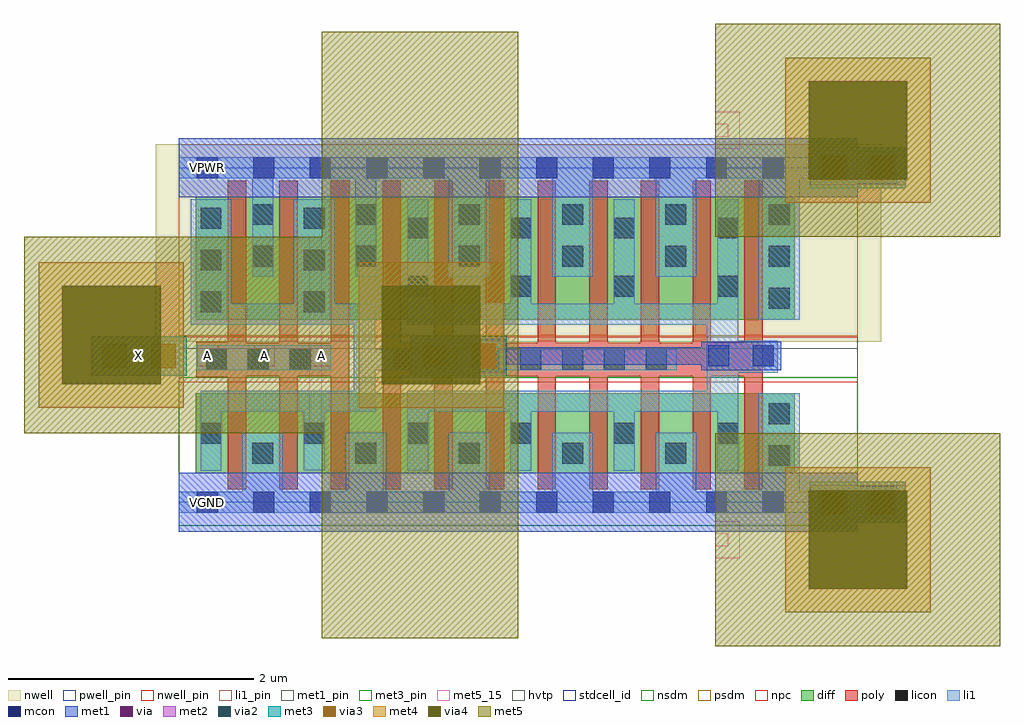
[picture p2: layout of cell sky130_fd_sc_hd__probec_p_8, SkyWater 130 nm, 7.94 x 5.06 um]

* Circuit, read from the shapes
.subckt sky130_fd_sc_hd__probec_p_8 A VGND VNB VPB VPWR X
XM1 VGND A n1 VNB sky130_fd_pr__nfet_01v8 w=0.65 l=0.15 m=3
XM2 X n1 VGND VNB sky130_fd_pr__nfet_01v8 w=0.65 l=0.15 m=8
XM3 VPWR A n1 VPB sky130_fd_pr__pfet_01v8_hvt w=1 l=0.15 m=3
XM4 X n1 VPWR VPB sky130_fd_pr__pfet_01v8_hvt w=1 l=0.15 m=8
.ends

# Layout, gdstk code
import gdstk
lib = gdstk.Library(unit=1e-6, precision=1e-09)
def R(c, l, rs):  # rectangles x0, y0, x1, y1
    for r in rs: c.add(gdstk.rectangle(r[:2], r[2:], *l))
def A(c, l, x, y, w, h, nx, ny, dx, dy):  # array of equal rectangles
    R(c, l, [(x+i*dx, y+j*dy, x+i*dx+w, y+j*dy+h) for i in range(nx) for j in range(ny)])
def P(c, l, *ps):  # polygons
    for p in ps: c.add(gdstk.Polygon(p, *l))
nwell_pin = (64, 16)
nwell = (64, 20)
diff = (65, 20)
poly = (66, 20)
licon = (66, 44)
li1_pin = (67, 16)
li1 = (67, 20)
mcon = (67, 44)
met1_pin = (68, 16)
met1 = (68, 20)
via = (68, 44)
met2 = (69, 20)
via2 = (69, 44)
met3_pin = (70, 16)
met3 = (70, 20)
via3 = (70, 44)
met4 = (71, 20)
via4 = (71, 44)
met5_15 = (72, 15)
met5 = (72, 20)
hvtp = (78, 44)
stdcell_id = (81, 4)
nsdm = (93, 44)
psdm = (94, 20)
npc = (95, 20)
pwell_pin = (122, 16)

sky130_fd_sc_hd__probec_ = lib.new_cell('sky130_fd_sc_hd__probec_p_8')
R(sky130_fd_sc_hd__probec_, nwell_pin, [(0.15,2.635,0.32,2.805)])
R(sky130_fd_sc_hd__probec_, nwell, [(-0.19,1.305,5.71,2.91)])
R(sky130_fd_sc_hd__probec_, diff, [(0.135,0.235,5.005,0.885), (0.135,1.485,5.005,2.485)])
P(sky130_fd_sc_hd__probec_, poly, [(1.385,2.615),(1.235,2.615),(1.235,1.295),(0.965,1.295),(0.965,2.615),(0.815,2.615),(0.815,1.295),(0.545,1.295),(0.545,2.615),(0.395,2.615),(0.395,1.305),(0.14,1.305),(0.14,1.015),(0.395,1.015),(0.395,0.105),(0.545,0.105),(0.545,1.025),(0.815,1.025),(0.815,0.105),(0.965,0.105),(0.965,1.025),(1.235,1.025),(1.235,0.105),(1.385,0.105)],
  [(4.745,2.615),(4.595,2.615),(4.595,1.295),(4.325,1.295),(4.325,2.615),(4.175,2.615),(4.175,1.295),(3.905,1.295),(3.905,2.615),(3.755,2.615),(3.755,1.295),(3.485,1.295),(3.485,2.615),(3.335,2.615),(3.335,1.295),(3.065,1.295),(3.065,2.615),(2.915,2.615),(2.915,1.295),(2.645,1.295),(2.645,2.615),(2.495,2.615),(2.495,1.295),(2.225,1.295),(2.225,2.615),(2.075,2.615),(2.075,1.295),(1.805,1.295),(1.805,2.615),(1.655,2.615),(1.655,0.105),(1.805,0.105),(1.805,1.025),(2.075,1.025),(2.075,0.105),(2.225,0.105),(2.225,1.025),(2.495,1.025),(2.495,0.105),(2.645,0.105),(2.645,1.025),(2.915,1.025),(2.915,0.105),(3.065,0.105),(3.065,1.025),(3.335,1.025),(3.335,0.105),(3.485,0.105),(3.485,1.025),(3.755,1.025),(3.755,0.105),(3.905,0.105),(3.905,1.025),(4.175,1.025),(4.175,0.105),(4.325,0.105),(4.325,1.025),(4.595,1.025),(4.595,0.105),(4.745,0.105)])
A(sky130_fd_sc_hd__probec_, licon, 0.595, 0.315, 0.17, 0.17, 5, 1, 0.84, 0)
A(sky130_fd_sc_hd__probec_, licon, 0.175, 0.475, 0.17, 0.17, 6, 1, 0.84, 0)
A(sky130_fd_sc_hd__probec_, licon, 0.22, 1.075, 0.17, 0.17, 3, 1, 0.34, 0)
A(sky130_fd_sc_hd__probec_, licon, 1.755, 1.075, 0.17, 0.17, 7, 1, 0.34, 0)
A(sky130_fd_sc_hd__probec_, licon, 0.175, 1.545, 0.17, 0.17, 1, 3, 0, 0.34)
A(sky130_fd_sc_hd__probec_, licon, 1.015, 1.545, 0.17, 0.17, 1, 3, 0, 0.34)
A(sky130_fd_sc_hd__probec_, licon, 1.855, 1.67, 0.17, 0.17, 4, 2, 0.84, 0.475)
A(sky130_fd_sc_hd__probec_, licon, 0.595, 1.915, 0.17, 0.17, 6, 2, 0.84, 0.34)
R(sky130_fd_sc_hd__probec_, licon, [(4.795,0.295,4.965,0.465), (4.795,0.635,4.965,0.805), (4.795,1.575,4.965,1.745)])
A(sky130_fd_sc_hd__probec_, li1_pin, 0.15, 1.105, 0.17, 0.17, 3, 1, 0.46, 0)
R(sky130_fd_sc_hd__probec_, li1_pin, [(0.15,-0.085,0.32,0.085), (0.15,2.635,0.32,2.805)])
R(sky130_fd_sc_hd__probec_, li1, [(0.14,1.075,1.24,1.275)])
P(sky130_fd_sc_hd__probec_, li1, [(4.045,1.245),(1.595,1.245),(1.595,1.615),(1.265,1.615),(1.265,2.465),(0.935,2.465),(0.935,1.615),(0.425,1.615),(0.425,2.465),(0.095,2.465),(0.095,1.445),(1.42,1.445),(1.42,0.905),(0.175,0.905),(0.175,0.255),(0.345,0.255),(0.345,0.735),(1.015,0.735),(1.015,0.26),(1.185,0.26),(1.185,0.735),(1.595,0.735),(1.595,1.075),(4.045,1.075)],
  [(4.87,1.315),(4.545,1.315),(4.545,2.465),(4.375,2.465),(4.375,1.615),(3.705,1.615),(3.705,2.465),(3.535,2.465),(3.535,1.615),(2.865,1.615),(2.865,2.465),(2.695,2.465),(2.695,1.615),(2.025,1.615),(2.025,2.465),(1.855,2.465),(1.855,1.445),(4.29,1.445),(4.29,0.905),(1.855,0.905),(1.855,0.255),(2.025,0.255),(2.025,0.735),(2.695,0.735),(2.695,0.255),(2.865,0.255),(2.865,0.735),(3.535,0.735),(3.535,0.255),(3.705,0.255),(3.705,0.735),(4.375,0.735),(4.375,0.255),(4.545,0.255),(4.545,1.055),(4.87,1.055)],
  [(5.52,2.805),(0,2.805),(0,2.635),(0.595,2.635),(0.595,1.835),(0.765,1.835),(0.765,2.635),(1.435,2.635),(1.435,1.835),(1.605,1.835),(1.605,2.635),(2.195,2.635),(2.195,1.835),(2.525,1.835),(2.525,2.635),(3.035,2.635),(3.035,1.835),(3.365,1.835),(3.365,2.635),(3.875,2.635),(3.875,1.835),(4.205,1.835),(4.205,2.635),(4.715,2.635),(4.715,1.485),(5.045,1.485),(5.045,2.635),(5.52,2.635)],
  [(5.52,0.085),(5.045,0.085),(5.045,0.885),(4.715,0.885),(4.715,0.085),(4.205,0.085),(4.205,0.565),(3.875,0.565),(3.875,0.085),(3.365,0.085),(3.365,0.565),(3.035,0.565),(3.035,0.085),(2.525,0.085),(2.525,0.565),(2.195,0.565),(2.195,0.085),(1.685,0.085),(1.685,0.565),(1.355,0.565),(1.355,0.085),(0.845,0.085),(0.845,0.565),(0.515,0.565),(0.515,0.085),(0,0.085),(0,-0.085),(5.52,-0.085)])
A(sky130_fd_sc_hd__probec_, mcon, 0.145, -0.085, 0.17, 0.17, 12, 2, 0.46, 2.72)
R(sky130_fd_sc_hd__probec_, mcon, [(4.305,1.105,4.475,1.275), (4.665,1.105,4.835,1.275)])
R(sky130_fd_sc_hd__probec_, met1_pin, [(0.15,-0.085,0.32,0.085), (0.15,2.635,0.32,2.805)])
R(sky130_fd_sc_hd__probec_, met1, [(0,-0.24,5.52,0.24), (5.2,-0.13,5.84,0.13), (2.02,1.06,2.66,1.32), (0,2.48,5.52,2.96), (5.2,2.59,5.84,2.85)])
P(sky130_fd_sc_hd__probec_, met1, [(4.895,1.305),(4.245,1.305),(4.245,1.26),(2.66,1.26),(2.66,1.12),(4.245,1.12),(4.245,1.075),(4.895,1.075)])
R(sky130_fd_sc_hd__probec_, via, [(5.285,-0.075,5.435,0.075), (5.605,-0.075,5.755,0.075), (2.105,1.115,2.255,1.265), (2.425,1.115,2.575,1.265), (5.285,2.645,5.435,2.795), (5.605,2.645,5.755,2.795)])
R(sky130_fd_sc_hd__probec_, met2, [(5.135,-0.14,5.905,0.14), (5.2,-0.13,5.84,0.13), (1.89,1.05,2.66,1.33), (2.02,1.06,2.66,1.32), (5.135,2.58,5.905,2.86), (5.2,2.59,5.84,2.85)])
R(sky130_fd_sc_hd__probec_, via2, [(5.22,-0.1,5.42,0.1), (5.62,-0.1,5.82,0.1), (1.975,1.09,2.175,1.29), (2.375,1.09,2.575,1.29), (5.22,2.62,5.42,2.82), (5.62,2.62,5.82,2.82)])
R(sky130_fd_sc_hd__probec_, met3_pin, [(-0.49,1.03,-0.17,1.35)])
R(sky130_fd_sc_hd__probec_, met3, [(5.13,-0.165,5.91,0.165), (5.155,-0.165,5.885,0.165), (5.13,-0.16,5.91,0.16), (1.885,1.025,2.665,1.355), (1.91,1.025,2.64,1.355), (-0.715,1.03,0.065,1.35), (1.885,1.03,2.665,1.35), (5.13,2.555,5.91,2.885), (5.155,2.555,5.885,2.885), (5.13,2.56,5.91,2.88)])
R(sky130_fd_sc_hd__probec_, via3, [(5.22,-0.1,5.42,0.1), (5.62,-0.1,5.82,0.1), (-0.625,1.09,-0.425,1.29), (-0.225,1.09,-0.025,1.29), (1.975,1.09,2.175,1.29), (2.375,1.09,2.575,1.29), (5.22,2.62,5.42,2.82), (5.62,2.62,5.82,2.82)])
R(sky130_fd_sc_hd__probec_, met4, [(4.93,-0.895,6.11,0.285), (5.155,-0.165,5.885,0.165), (-1.14,0.77,0.04,1.95), (1.46,0.77,2.64,1.95), (-0.69,1.025,0.04,1.355), (1.91,1.025,2.64,1.355), (4.93,2.435,6.11,3.615), (5.155,2.555,5.885,2.885)])
R(sky130_fd_sc_hd__probec_, via4, [(5.12,-0.705,5.92,0.095), (-0.95,0.96,-0.15,1.76), (1.65,0.96,2.45,1.76), (5.12,2.625,5.92,3.425)])
R(sky130_fd_sc_hd__probec_, met5_15, [(1.06,0.56,1.16,2.16)])
P(sky130_fd_sc_hd__probec_, met5_15, [(4.56,3.175),(4.36,3.175),(4.36,3.075),(4.46,3.075),(4.46,2.975),(4.36,2.975),(4.36,2.875),(4.56,2.875)],
  [(4.56,-0.155),(4.36,-0.155),(4.36,-0.255),(4.46,-0.255),(4.46,-0.355),(4.36,-0.355),(4.36,-0.455),(4.56,-0.455)])
R(sky130_fd_sc_hd__probec_, met5, [(4.36,-1.17,6.675,0.56), (4.81,-1.015,6.23,0.405), (-1.26,0.65,0.16,2.07), (1.34,0.65,2.76,2.07), (4.36,2.16,6.675,3.89), (4.81,2.315,6.23,3.735)])
P(sky130_fd_sc_hd__probec_, met5, [(2.76,3.825),(1.16,3.825),(1.16,2.16),(-1.26,2.16),(-1.26,0.56),(1.16,0.56),(1.16,-1.105),(2.76,-1.105)])
R(sky130_fd_sc_hd__probec_, hvtp, [(0,1.25,5.52,2.72)])
R(sky130_fd_sc_hd__probec_, stdcell_id, [(0,0,5.52,2.72)])
R(sky130_fd_sc_hd__probec_, nsdm, [(0,-0.19,5.52,1.015)])
R(sky130_fd_sc_hd__probec_, psdm, [(0,1.355,5.52,2.91)])
R(sky130_fd_sc_hd__probec_, npc, [(0,0.975,5.52,1.345)])
R(sky130_fd_sc_hd__probec_, pwell_pin, [(0.15,-0.085,0.32,0.085)])
sky130_fd_sc_hd__probec_.add(gdstk.Label('X', (-0.33,1.19), layer=70, texttype=5))
sky130_fd_sc_hd__probec_.add(gdstk.Label('A', (1.155,1.19), layer=67, texttype=5))
sky130_fd_sc_hd__probec_.add(gdstk.Label('A', (0.695,1.19), layer=67, texttype=5))
sky130_fd_sc_hd__probec_.add(gdstk.Label('VGND', (0.23,0), layer=67, texttype=5))
sky130_fd_sc_hd__probec_.add(gdstk.Label('VPWR', (0.235,2.72), layer=67, texttype=5))
sky130_fd_sc_hd__probec_.add(gdstk.Label('A', (0.235,1.19), layer=67, texttype=5))
sky130_fd_sc_hd__probec_.add(gdstk.Label('VPB', (0.235,2.72), layer=64, texttype=5))
sky130_fd_sc_hd__probec_.add(gdstk.Label('VNB', (0.235,0), layer=64, texttype=59))
sky130_fd_sc_hd__probec_.add(gdstk.Label('VGND', (0.23,0), layer=68, texttype=5))
sky130_fd_sc_hd__probec_.add(gdstk.Label('VPWR', (0.235,2.72), layer=68, texttype=5))
sky130_fd_sc_hd__probec_.add(gdstk.Label('probec_p_8', (0,0), layer=83, texttype=44))

lib.write_gds('sky130_fd_sc_hd__probec_p_8.gds')
